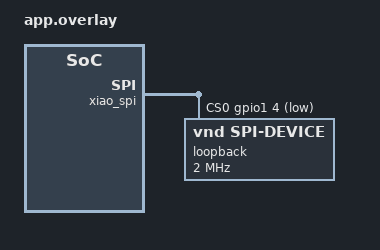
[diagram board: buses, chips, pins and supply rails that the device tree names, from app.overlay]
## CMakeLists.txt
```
cmake_minimum_required(VERSION 3.20.0)
find_package(Zephyr REQUIRED HINTS $ENV{ZEPHYR_BASE})
project(spi_loopback)
if(NOT TARGET nrf54l15_core)
  add_subdirectory(../../lib/nrf54l15 ${CMAKE_CURRENT_BINARY_DIR}/nrf54l15)
endif()
target_sources(app PRIVATE src/main.c)
target_link_libraries(app PRIVATE nrf54l15_drivers)
```

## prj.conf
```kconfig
CONFIG_SPI=y
CONFIG_GPIO=y
CONFIG_PRINTK=y
CONFIG_CONSOLE=y
CONFIG_UART_CONSOLE=y
CONFIG_SENSOR=n
CONFIG_MAIN_STACK_SIZE=2048
```

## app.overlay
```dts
/* External wire loopback: connect XIAO D10 (SDO/MOSI, P2.02) to
 * D9 (SDI/MISO, P2.04). D8/P2.01 is SCK; D0/P1.04 is active-low CS.
 * Leave CS unconnected or observe it with a logic analyzer. No peripheral
 * should share these pins while the pattern test is running.
 */
&xiao_spi {
	status = "okay";
	cs-gpios = <&gpio1 4 GPIO_ACTIVE_LOW>;
	loopback: loopback@0 {
		compatible = "vnd,spi-device";
		reg = <0>;
		/* SPIM00's prescaler cannot represent 1 MHz; 2 MHz is valid. */
		spi-max-frequency = <2000000>;
	};
};
```

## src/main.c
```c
/* SPDX-License-Identifier: Apache-2.0 */
#include <string.h>
#include <zephyr/kernel.h>
#include <nrf54l15/spi.h>

static struct nrf54l15_spi ports[4];
static uint8_t tx[NRF54L15_SPI_MAX_TRANSFER];
static uint8_t rx[NRF54L15_SPI_MAX_TRANSFER];

int main(void)
{
	const uint32_t modes[] = {0, SPI_MODE_CPHA, SPI_MODE_CPOL, SPI_MODE_CPOL | SPI_MODE_CPHA};
	const size_t lengths[] = {1, 3, 16, 255, 256, NRF54L15_SPI_MAX_TRANSFER};
	for (size_t mode = 0; mode < ARRAY_SIZE(modes); ++mode) {
		struct spi_dt_spec spec = SPI_DT_SPEC_GET(DT_NODELABEL(loopback), SPI_WORD_SET(8));
		spec.config.operation |= modes[mode];
		int err = nrf54l15_spi_init(&ports[mode], &spec);
		if (err) {
			printk("# SPI mode %u init failed: %d\n", (unsigned int)mode, err);
			return 0;
		}
	}
	printk("# SPI wire loopback: D10 to D9, D8=SCK, D0=CS; requested 2 MHz\n");
	printk("# SPI,round,mode,bytes,PASS\n");
	k_sleep(K_MSEC(1000));
	for (uint32_t round = 0; ; ++round) {
		for (size_t mode = 0; mode < ARRAY_SIZE(modes); ++mode) {
			for (size_t n = 0; n < ARRAY_SIZE(lengths); ++n) {
				size_t length = lengths[n];
				for (size_t i = 0; i < length; ++i) {
					tx[i] = (uint8_t)((i * 73U + round) ^ (0xa5U + mode));
				}
				memset(rx, 0, length);
				int err = nrf54l15_spi_transfer(&ports[mode], tx, rx, length, 0xff);
				if (err) {
					printk("# SPI transfer failed: mode=%u bytes=%u error=%d\n",
						(unsigned int)mode, (unsigned int)length, err);
					return 0;
				}
				if (memcmp(tx, rx, length)) {
					size_t first = 0;
					while (tx[first] == rx[first]) { ++first; }
					printk("# SPI mismatch: mode=%u byte=%u expected=%02x received=%02x\n",
						(unsigned int)mode, (unsigned int)first, tx[first], rx[first]);
					return 0;
				}
				printk("SPI,%u,%u,%u,PASS\n", round, (unsigned int)mode, (unsigned int)length);
			}
		}
		k_sleep(K_MSEC(1000));
	}
}
```
